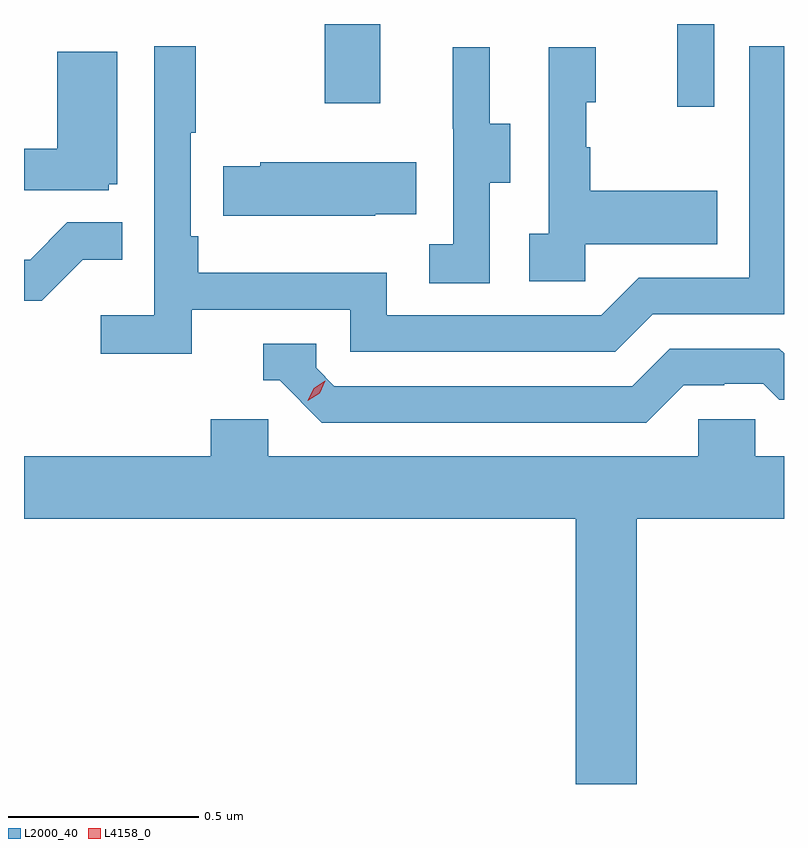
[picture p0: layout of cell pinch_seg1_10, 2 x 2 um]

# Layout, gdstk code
import gdstk
lib = gdstk.Library(unit=1e-6, precision=1e-09)
def R(c, l, rs):  # rectangles x0, y0, x1, y1
    for r in rs: c.add(gdstk.rectangle(r[:2], r[2:], *l))
def P(c, l, *ps):  # polygons
    for p in ps: c.add(gdstk.Polygon(p, *l))
L2000_40 = (2000, 40)
L4158_0 = (4158, 0)

pinch_seg1_10 = lib.new_cell('pinch_seg1_10')
R(pinch_seg1_10, L2000_40, [(1086.278,579.456,1086.375,579.674), (1085.35,579.465,1085.497,579.674)])
P(pinch_seg1_10, L2000_40, [(1085,578.922),(1085.418,578.922),(1085.418,578.811),(1086.115,578.811),(1086.214,578.91),(1086.559,578.91),(1086.559,579.615),(1086.468,579.615),(1086.468,579.006),(1086.177,579.006),(1086.078,578.907),(1085.514,578.907),(1085.514,579.019),(1085.018,579.019),(1085.018,579.115),(1084.998,579.115),(1084.998,579.388),(1085.011,579.388),(1085.011,579.616),(1084.902,579.616),(1084.902,578.908),(1084.761,578.908),(1084.761,578.806),(1085,578.806)],
  [(1085.784,579.256),(1085.839,579.256),(1085.839,579.411),(1085.785,579.411),(1085.785,579.613),(1085.687,579.613),(1085.687,579.399),(1085.688,579.399),(1085.688,579.095),(1085.625,579.095),(1085.625,578.992),(1085.784,578.992)],
  [(1086.036,579.095),(1086.383,579.095),(1086.383,579.235),(1086.049,579.235),(1086.049,579.35),(1086.039,579.35),(1086.039,579.468),(1086.064,579.468),(1086.064,579.613),(1085.94,579.613),(1085.94,579.122),(1085.889,579.122),(1085.889,578.997),(1086.036,578.997)],
  [(1084.782,579.252),(1084.804,579.252),(1084.804,579.601),(1084.646,579.601),(1084.646,579.346),(1084.559,579.346),(1084.559,579.237),(1084.782,579.237)],
  [(1085.483,579.173),(1085.591,579.173),(1085.591,579.31),(1085.181,579.31),(1085.181,579.3),(1085.083,579.3),(1085.083,579.17),(1085.483,579.17)],
  [(1084.713,579.053),(1084.817,579.053),(1084.817,579.152),(1084.673,579.152),(1084.575,579.054),(1084.559,579.054),(1084.559,578.946),(1084.606,578.946)],
  [(1086.295,578.724),(1086.402,578.724),(1086.402,578.727),(1086.505,578.727),(1086.547,578.685),(1086.559,578.685),(1086.559,578.808),(1086.547,578.82),(1086.258,578.82),(1086.159,578.721),(1085.376,578.721),(1085.328,578.769),(1085.328,578.832),(1085.189,578.832),(1085.189,578.736),(1085.232,578.736),(1085.343,578.625),(1086.196,578.625)],
  [(1086.171,578.372),(1086.559,578.372),(1086.559,578.536),(1086.483,578.536),(1086.483,578.634),(1086.333,578.634),(1086.333,578.536),(1085.202,578.536),(1085.202,578.634),(1085.051,578.634),(1085.051,578.536),(1084.559,578.536),(1084.559,578.372),(1086.011,578.372),(1086.011,577.674),(1086.171,577.674)])
P(pinch_seg1_10, L4158_0, [(1085.306,578.682),(1085.306,578.682),(1085.322,578.715),(1085.352,578.735),(1085.352,578.735),(1085.352,578.735),(1085.337,578.702),(1085.306,578.682)])

lib.write_gds('pinch_seg1_10.gds')
